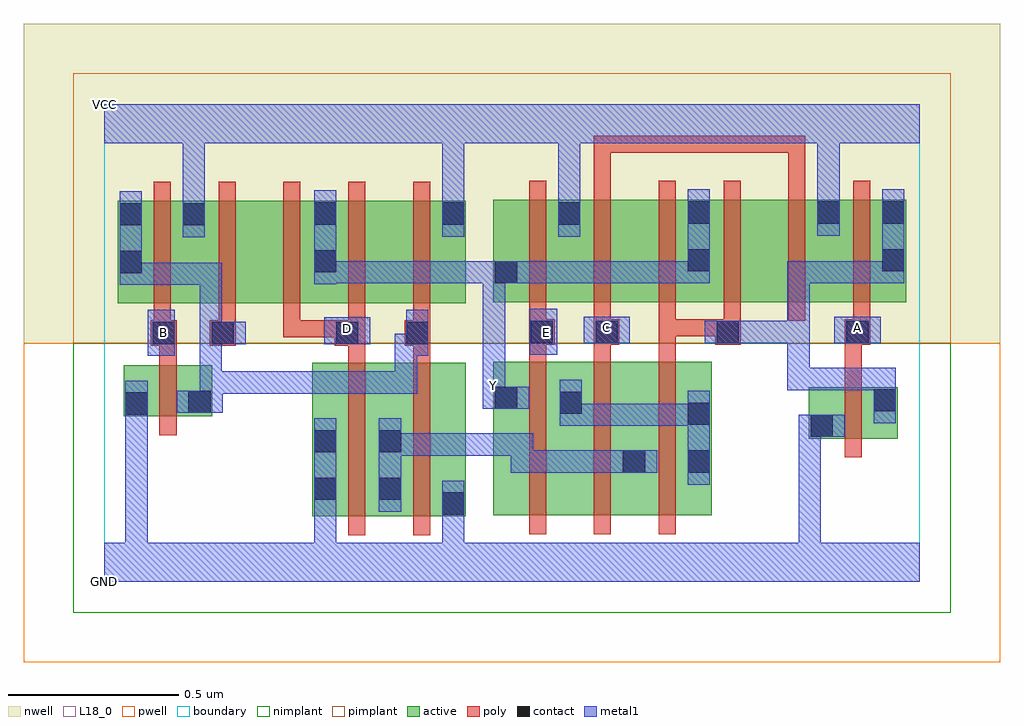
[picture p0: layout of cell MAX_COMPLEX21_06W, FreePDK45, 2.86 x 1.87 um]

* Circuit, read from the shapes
.subckt MAX_COMPLEX21_06W A B C D E GND VCC Y
M1 n1 B GND VSUBS nfet w=0.15u l=0.05u
M2 n2 D GND VSUBS nfet w=0.45u l=0.05u
M3 GND n1 n2 VSUBS nfet w=0.45u l=0.05u
M4 n3 E Y VSUBS nfet w=0.45u l=0.05u
M5 n2 C n3 VSUBS nfet w=0.45u l=0.05u
M6 n3 n4 n2 VSUBS nfet w=0.45u l=0.05u
M7 n4 A GND VSUBS nfet w=0.15u l=0.05u
M8 VCC B n1 n5 pfet w=0.3u l=0.05u
M9 n6 n1 VCC n5 pfet w=0.3u l=0.05u
M10 Y D n6 n5 pfet w=0.3u l=0.05u
M11 n7 D Y n5 pfet w=0.3u l=0.05u
M12 VCC n1 n7 n5 pfet w=0.3u l=0.05u
M13 VCC E Y n5 pfet w=0.3u l=0.05u
M14 n8 C VCC n5 pfet w=0.3u l=0.05u
M15 Y n4 n8 n5 pfet w=0.3u l=0.05u
M16 n9 n4 Y n5 pfet w=0.3u l=0.05u
M17 VCC C n9 n5 pfet w=0.3u l=0.05u
M18 n4 A VCC n5 pfet w=0.3u l=0.05u
.ends

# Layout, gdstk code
import gdstk
lib = gdstk.Library(unit=1e-6, precision=1e-09)
def R(c, l, rs):  # rectangles x0, y0, x1, y1
    for r in rs: c.add(gdstk.rectangle(r[:2], r[2:], *l))
def A(c, l, x, y, w, h, nx, ny, dx, dy):  # array of equal rectangles
    R(c, l, [(x+i*dx, y+j*dy, x+i*dx+w, y+j*dy+h) for i in range(nx) for j in range(ny)])
active = (1, 0)
pwell = (2, 0)
nwell = (3, 0)
nimplant = (4, 0)
pimplant = (5, 0)
poly = (9, 0)
contact = (10, 0)
metal1 = (11, 0)
L18_0 = (18, 0)
boundary = (235, 0)

max_complex21_06w = lib.new_cell('MAX_COMPLEX21_06W')
R(max_complex21_06w, active, [(0.61,0.192,0.875,0.642), (0.8,0.192,1.06,0.642), (0.985,0.192,1.06,0.385), (0.61,0.195,0.685,0.642), (0.8,0.195,0.875,0.542), (1.14,0.195,1.215,0.645), (1.14,0.195,1.405,0.645), (1.33,0.195,1.405,0.645), (1.33,0.195,1.59,0.645), (1.515,0.195,1.78,0.645), (1.515,0.195,1.59,0.542), (1.705,0.195,1.78,0.645), (2.065,0.42,2.14,0.57), (2.065,0.42,2.325,0.57), (2.25,0.42,2.325,0.57), (0.057,0.485,0.132,0.635), (0.057,0.485,0.317,0.635), (0.242,0.49,0.317,0.635), (0.04,0.817,0.3,1.117), (0.04,0.817,0.115,1.115), (0.225,0.817,0.3,1.117), (0.225,0.817,0.455,1.117), (0.455,0.817,0.685,1.117), (0.61,0.817,0.685,1.117), (0.61,0.817,0.835,1.117), (0.835,0.817,1.06,1.117), (0.985,0.817,1.06,1.117), (1.14,0.82,1.4,1.12), (1.14,0.82,1.215,1.055), (1.325,0.82,1.555,1.12), (1.555,0.82,1.78,1.12), (1.705,0.82,1.78,1.12), (1.705,0.82,1.935,1.12), (1.935,0.82,2.16,1.12), (2.085,0.82,2.16,1.12), (2.085,0.82,2.35,1.12), (2.275,0.82,2.35,1.12), (1.325,0.852,1.4,1.12)])
R(max_complex21_06w, pwell, [(-0.235,-0.235,2.625,0.7)])
R(max_complex21_06w, nwell, [(-0.235,0.7,2.625,1.635)])
R(max_complex21_06w, nimplant, [(-0.09,-0.09,2.48,0.7)])
R(max_complex21_06w, pimplant, [(-0.09,0.7,2.48,1.49)])
A(max_complex21_06w, poly, 1.245, 0.14, 0.05, 0.56, 3, 1, 0.19, 0)
A(max_complex21_06w, poly, 0.145, 0.717, 0.05, 0.095, 5, 1, 0.19, 0)
A(max_complex21_06w, poly, 1.245, 0.72, 0.05, 0.095, 4, 1, 0.19, 0)
A(max_complex21_06w, poly, 0.145, 0.762, 0.05, 0.41, 5, 1, 0.19, 0)
A(max_complex21_06w, poly, 1.245, 0.765, 0.05, 0.41, 6, 1, 0.19, 0)
R(max_complex21_06w, poly, [(0.715,0.137,0.765,0.697), (0.905,0.137,0.955,0.697), (2.17,0.365,2.22,0.625), (0.162,0.43,0.212,0.69), (2.17,0.575,2.22,0.745), (0.162,0.64,0.212,0.742), (0.715,0.647,0.765,0.742), (0.905,0.647,0.955,0.742), (1.245,0.65,1.295,0.745), (1.435,0.65,1.485,0.745), (1.625,0.65,1.675,0.77), (0.137,0.692,0.212,0.767), (0.31,0.692,0.385,0.767), (0.675,0.692,0.765,0.767), (0.88,0.692,0.955,0.767), (1.245,0.695,1.32,0.77), (1.435,0.695,1.51,0.77), (1.79,0.695,1.865,0.77), (2.17,0.695,2.245,0.77), (0.525,0.717,0.575,0.767), (0.525,0.717,0.575,0.767), (0.525,0.717,0.575,0.767), (0.525,0.717,0.725,0.767), (1.625,0.72,1.675,0.77), (1.625,0.72,1.675,0.77), (1.625,0.72,1.675,0.77), (1.625,0.72,1.84,0.77), (2.195,0.72,2.245,0.815), (1.435,1.125,1.485,1.307), (2.005,1.125,2.055,1.307), (1.435,1.257,1.485,1.307), (1.435,1.257,1.485,1.307), (1.435,1.257,1.485,1.307), (1.435,1.257,1.617,1.307), (1.567,1.257,1.617,1.307), (1.567,1.257,1.807,1.307), (1.757,1.257,1.807,1.307), (1.757,1.257,1.807,1.307), (1.757,1.257,1.807,1.307), (1.757,1.257,2.055,1.307), (2.005,1.257,2.055,1.307), (2.005,1.257,2.055,1.307), (2.005,1.257,2.055,1.307)])
R(max_complex21_06w, contact, [(0.99,0.197,1.055,0.262), (0.615,0.24,0.68,0.305), (0.805,0.24,0.87,0.305), (1.52,0.32,1.585,0.385), (1.71,0.32,1.775,0.385), (0.615,0.38,0.68,0.445), (0.805,0.38,0.87,0.445), (2.07,0.425,2.135,0.49), (1.71,0.46,1.775,0.525), (0.062,0.49,0.127,0.555), (1.335,0.492,1.4,0.557), (0.247,0.495,0.312,0.56), (2.255,0.5,2.32,0.565), (1.145,0.507,1.21,0.572), (0.142,0.697,0.207,0.762), (0.315,0.697,0.38,0.762), (0.68,0.697,0.745,0.762), (0.885,0.697,0.95,0.762), (1.25,0.7,1.315,0.765), (1.44,0.7,1.505,0.765), (1.795,0.7,1.86,0.765), (2.175,0.7,2.24,0.765), (1.145,0.875,1.21,0.94), (0.045,0.905,0.11,0.97), (0.615,0.907,0.68,0.972), (1.71,0.91,1.775,0.975), (2.28,0.91,2.345,0.975), (0.045,1.045,0.11,1.11), (0.23,1.045,0.295,1.11), (0.615,1.047,0.68,1.112), (0.99,1.047,1.055,1.112), (1.33,1.047,1.395,1.112), (1.71,1.05,1.775,1.115), (2.09,1.05,2.155,1.115), (2.28,1.05,2.345,1.115)])
R(max_complex21_06w, metal1, [(0,0,2.39,0.115), (0.062,0.05,0.127,0.115), (0.062,0.05,0.127,0.115), (0.062,0.05,0.127,0.115), (0.062,0.05,0.127,0.115), (0.062,0.05,0.127,0.115), (0.062,0.05,0.127,0.115), (0.062,0.05,0.127,0.52), (0.615,0.05,0.68,0.27), (0.99,0.05,1.055,0.227), (2.035,0.05,2.1,0.115), (2.035,0.05,2.1,0.115), (2.035,0.05,2.1,0.115), (2.035,0.05,2.1,0.115), (2.035,0.05,2.1,0.49), (0.99,0.162,1.055,0.227), (0.99,0.162,1.055,0.227), (0.99,0.162,1.055,0.297), (0.615,0.205,0.68,0.27), (0.615,0.205,0.68,0.27), (0.615,0.205,0.68,0.48), (0.805,0.205,0.87,0.48), (1.71,0.285,1.775,0.56), (1.192,0.32,1.257,0.385), (1.192,0.32,1.257,0.385), (1.192,0.32,1.412,0.385), (1.192,0.32,1.257,0.435), (1.347,0.32,1.412,0.385), (1.347,0.32,1.412,0.385), (1.347,0.32,1.412,0.385), (1.347,0.32,1.55,0.385), (1.485,0.32,1.62,0.385), (0.805,0.37,1.037,0.435), (0.972,0.37,1.037,0.435), (0.972,0.37,1.107,0.435), (1.042,0.37,1.107,0.435), (1.042,0.37,1.257,0.435), (2.035,0.425,2.1,0.49), (2.035,0.425,2.1,0.49), (2.035,0.425,2.17,0.49), (0.062,0.455,0.127,0.59), (1.335,0.457,1.4,0.522), (1.335,0.457,1.4,0.522), (1.335,0.457,1.4,0.592), (1.335,0.457,1.637,0.522), (1.572,0.457,1.637,0.522), (1.572,0.457,1.637,0.522), (1.572,0.457,1.637,0.522), (1.572,0.457,1.775,0.522), (2.255,0.465,2.32,0.6), (0.212,0.495,0.347,0.56), (0.28,0.495,0.345,0.762), (0.282,0.495,0.347,0.56), (0.282,0.495,0.347,0.617), (1.11,0.507,1.175,0.572), (1.11,0.507,1.175,0.642), (1.11,0.507,1.245,0.572), (2.255,0.535,2.32,0.6), (2.255,0.535,2.32,0.627), (0.282,0.552,0.485,0.617), (0.42,0.552,0.485,0.617), (0.42,0.552,0.485,0.617), (0.42,0.552,0.485,0.617), (0.42,0.552,0.622,0.617), (0.557,0.552,0.622,0.617), (0.557,0.552,0.622,0.617), (0.557,0.552,0.622,0.617), (0.557,0.552,0.917,0.617), (0.852,0.552,0.917,0.617), (0.852,0.552,0.917,0.727), (2.002,0.562,2.067,0.627), (2.002,0.562,2.32,0.627), (2.002,0.562,2.067,0.765), (1.11,0.577,1.175,0.94), (0.127,0.662,0.207,0.797), (0.852,0.662,0.917,0.727), (0.852,0.662,0.95,0.727), (0.885,0.662,0.95,0.797), (1.247,0.665,1.327,0.8), (0.28,0.697,0.345,0.762), (0.28,0.697,0.345,0.762), (0.28,0.697,0.415,0.762), (0.28,0.697,0.345,0.935), (0.645,0.697,0.78,0.775), (1.405,0.7,1.54,0.777), (1.76,0.7,1.895,0.765), (1.83,0.7,1.895,0.765), (1.83,0.7,1.895,0.765), (1.83,0.7,2.067,0.765), (2.002,0.7,2.067,0.765), (2.002,0.7,2.067,0.765), (2.002,0.7,2.067,0.765), (2.002,0.7,2.067,0.94), (2.14,0.7,2.275,0.777), (0.045,0.87,0.11,0.935), (0.045,0.87,0.11,0.935), (0.045,0.87,0.11,1.145), (0.045,0.87,0.345,0.935), (0.28,0.87,0.345,0.935), (0.615,0.872,0.68,1.147), (0.615,0.875,0.68,0.94), (0.615,0.875,0.68,0.94), (0.615,0.875,0.917,0.94), (0.852,0.875,0.917,0.94), (0.852,0.875,0.917,0.94), (0.852,0.875,0.917,0.94), (0.852,0.875,1.107,0.94), (1.042,0.875,1.107,0.94), (1.042,0.875,1.175,0.94), (1.11,0.875,1.245,0.94), (1.18,0.875,1.245,0.94), (1.18,0.875,1.245,0.94), (1.18,0.875,1.395,0.94), (1.33,0.875,1.395,0.94), (1.33,0.875,1.395,0.94), (1.33,0.875,1.395,0.94), (1.33,0.875,1.637,0.94), (1.572,0.875,1.637,0.94), (1.572,0.875,1.637,0.94), (1.572,0.875,1.637,0.94), (1.572,0.875,1.775,0.94), (1.71,0.875,1.775,1.15), (2.002,0.875,2.067,0.94), (2.002,0.875,2.345,0.94), (2.28,0.875,2.345,0.94), (2.28,0.875,2.345,0.94), (2.28,0.875,2.345,1.15), (0.23,1.01,0.295,1.145), (0.99,1.012,1.055,1.147), (1.33,1.012,1.395,1.147), (2.09,1.015,2.155,1.15), (0.23,1.08,0.295,1.35), (0.99,1.082,1.055,1.147), (0.99,1.082,1.055,1.147), (0.99,1.082,1.055,1.35), (1.33,1.082,1.395,1.147), (1.33,1.082,1.395,1.147), (1.33,1.082,1.395,1.35), (2.09,1.085,2.155,1.35), (0,1.285,2.39,1.4), (0.23,1.285,0.295,1.35), (0.23,1.285,0.295,1.35), (2.09,1.285,2.155,1.35), (2.09,1.285,2.155,1.35)])
R(max_complex21_06w, L18_0, [(0,0,2.39,0.115), (0.062,0.05,0.127,0.115), (0.062,0.05,0.127,0.115), (0.062,0.05,0.127,0.115), (0.062,0.05,0.127,0.115), (0.062,0.05,0.127,0.115), (0.062,0.05,0.127,0.115), (0.062,0.05,0.127,0.52), (0.615,0.05,0.68,0.27), (0.99,0.05,1.055,0.227), (2.035,0.05,2.1,0.115), (2.035,0.05,2.1,0.115), (2.035,0.05,2.1,0.115), (2.035,0.05,2.1,0.115), (2.035,0.05,2.1,0.49), (0.99,0.162,1.055,0.227), (0.99,0.162,1.055,0.227), (0.99,0.162,1.055,0.297), (0.615,0.205,0.68,0.27), (0.615,0.205,0.68,0.27), (0.615,0.205,0.68,0.48), (2.035,0.425,2.1,0.49), (2.035,0.425,2.1,0.49), (2.035,0.425,2.17,0.49), (0.062,0.455,0.127,0.59), (1.11,0.507,1.175,0.572), (1.11,0.507,1.175,0.642), (1.11,0.507,1.245,0.572), (1.11,0.542,1.175,0.607), (1.11,0.577,1.175,0.94), (0.127,0.662,0.207,0.797), (1.247,0.665,1.327,0.8), (0.142,0.697,0.207,0.762), (0.645,0.697,0.78,0.775), (1.262,0.7,1.327,0.765), (1.405,0.7,1.54,0.777), (2.14,0.7,2.275,0.777), (0.68,0.71,0.745,0.775), (1.44,0.712,1.505,0.777), (2.175,0.712,2.24,0.777), (0.615,0.872,0.68,1.147), (0.615,0.875,0.68,0.94), (0.615,0.875,0.68,0.94), (0.615,0.875,0.917,0.94), (0.852,0.875,0.917,0.94), (0.852,0.875,0.917,0.94), (0.852,0.875,0.917,0.94), (0.852,0.875,1.107,0.94), (1.042,0.875,1.107,0.94), (1.042,0.875,1.175,0.94), (1.11,0.875,1.245,0.94), (1.18,0.875,1.245,0.94), (1.18,0.875,1.245,0.94), (1.18,0.875,1.395,0.94), (1.33,0.875,1.395,0.94), (1.33,0.875,1.395,0.94), (1.33,0.875,1.395,0.94), (1.33,0.875,1.637,0.94), (1.572,0.875,1.637,0.94), (1.572,0.875,1.637,0.94), (1.572,0.875,1.637,0.94), (1.572,0.875,1.775,0.94), (1.71,0.875,1.775,1.15), (0.23,1.01,0.295,1.145), (0.99,1.012,1.055,1.147), (1.33,1.012,1.395,1.147), (2.09,1.015,2.155,1.15), (0.23,1.08,0.295,1.35), (0.99,1.082,1.055,1.147), (0.99,1.082,1.055,1.147), (0.99,1.082,1.055,1.35), (1.33,1.082,1.395,1.147), (1.33,1.082,1.395,1.147), (1.33,1.082,1.395,1.35), (2.09,1.085,2.155,1.35), (0,1.285,2.39,1.4), (0.23,1.285,0.295,1.35), (0.23,1.285,0.295,1.35), (2.09,1.285,2.155,1.35), (2.09,1.285,2.155,1.35)])
R(max_complex21_06w, boundary, [(0,0,2.39,1.4)])
max_complex21_06w.add(gdstk.Label('A', (2.207,0.745), layer=11, texttype=0))
max_complex21_06w.add(gdstk.Label('B', (0.175,0.73), layer=11, texttype=0))
max_complex21_06w.add(gdstk.Label('C', (1.472,0.745), layer=11, texttype=0))
max_complex21_06w.add(gdstk.Label('D', (0.712,0.742), layer=11, texttype=0))
max_complex21_06w.add(gdstk.Label('E', (1.295,0.732), layer=11, texttype=0))
max_complex21_06w.add(gdstk.Label('Y', (1.142,0.575), layer=11, texttype=0))
max_complex21_06w.add(gdstk.Label('VCC', (0,1.4), layer=11, texttype=0))
max_complex21_06w.add(gdstk.Label('GND', (0,0), layer=11, texttype=0))

lib.write_gds('MAX_COMPLEX21_06W.gds')
